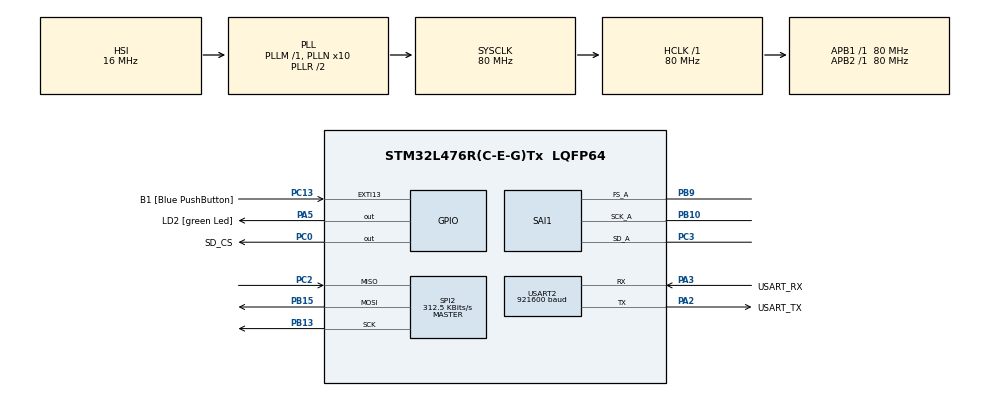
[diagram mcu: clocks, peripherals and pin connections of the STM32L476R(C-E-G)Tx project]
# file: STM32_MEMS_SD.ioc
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Dma.Request0=SAI1_A
Dma.Request1=SPI2_TX
Dma.SAI1_A.0.Direction=DMA_PERIPH_TO_MEMORY
Dma.SAI1_A.0.Instance=DMA2_Channel1
Dma.SAI1_A.0.MemDataAlignment=DMA_MDATAALIGN_WORD
Dma.SAI1_A.0.MemInc=DMA_MINC_ENABLE
Dma.SAI1_A.0.Mode=DMA_CIRCULAR
Dma.SAI1_A.0.PeriphDataAlignment=DMA_PDATAALIGN_WORD
Dma.SAI1_A.0.PeriphInc=DMA_PINC_DISABLE
Dma.SAI1_A.0.Priority=DMA_PRIORITY_HIGH
Dma.SPI2_TX.1.Direction=DMA_MEMORY_TO_PERIPH
Dma.SPI2_TX.1.Instance=DMA1_Channel5
Dma.SPI2_TX.1.MemDataAlignment=DMA_MDATAALIGN_BYTE
Dma.SPI2_TX.1.MemInc=DMA_MINC_ENABLE
Dma.SPI2_TX.1.Mode=DMA_NORMAL
Dma.SPI2_TX.1.PeriphDataAlignment=DMA_PDATAALIGN_BYTE
Dma.SPI2_TX.1.PeriphInc=DMA_PINC_DISABLE
Dma.SPI2_TX.1.Priority=DMA_PRIORITY_LOW
Mcu.Family=STM32L4
Mcu.Name=STM32L476R(C-E-G)Tx
Mcu.Package=LQFP64
NVIC.DMA1_Channel5_IRQn=true\:2\:0\:true\:false\:true\:false\:true\:true
NVIC.DMA2_Channel1_IRQn=true\:0\:0\:true\:false\:true\:false\:true\:true
NVIC.EXTI15_10_IRQn=true\:3\:0\:true\:false\:true\:true\:true\:true
NVIC.PriorityGroup=NVIC_PRIORITYGROUP_4
NVIC.SPI2_IRQn=true\:0\:0\:false\:false\:true\:true\:true\:true
PA13\ (JTMS-SWDIO).GPIO_Label=TMS
PA13\ (JTMS-SWDIO).Mode=Serial_Wire
PA13\ (JTMS-SWDIO).Signal=SYS_JTMS-SWDIO
PA14\ (JTCK-SWCLK).GPIO_Label=TCK
PA14\ (JTCK-SWCLK).Mode=Serial_Wire
PA14\ (JTCK-SWCLK).Signal=SYS_JTCK-SWCLK
PA2.GPIO_Label=USART_TX
PA2.GPIO_Mode=GPIO_MODE_AF_PP
PA2.GPIO_PuPd=GPIO_NOPULL
PA2.GPIO_Speed=GPIO_SPEED_FREQ_VERY_HIGH
PA2.Mode=Asynchronous
PA2.Signal=USART2_TX
PA3.GPIO_Label=USART_RX
PA3.GPIO_Mode=GPIO_MODE_AF_PP
PA3.GPIO_PuPd=GPIO_NOPULL
PA3.GPIO_Speed=GPIO_SPEED_FREQ_VERY_HIGH
PA3.Mode=Asynchronous
PA3.Signal=USART2_RX
PA5.GPIO_Label=LD2 [green Led]
PA5.GPIO_ModeDefaultOutputPP=GPIO_MODE_OUTPUT_PP
PA5.GPIO_PuPd=GPIO_NOPULL
PA5.GPIO_Speed=GPIO_SPEED_FREQ_LOW
PA5.Signal=GPIO_Output
PB10.Mode=SAI_A_Master
PB10.Signal=SAI1_SCK_A
PB13.Mode=Full_Duplex_Master
PB13.Signal=SPI2_SCK
PB15.Mode=Full_Duplex_Master
PB15.Signal=SPI2_MOSI
PB3\ (JTDO-TRACESWO).GPIO_Label=SWO
PB3\ (JTDO-TRACESWO).Signal=SYS_JTDO-SWO
PB9.Mode=SAI_A_Master
PB9.Signal=SAI1_FS_A
PC0.GPIO_Label=SD_CS
PC0.Signal=GPIO_Output
PC13.GPIO_Label=B1 [Blue PushButton]
PC13.GPIO_ModeDefaultEXTI=GPIO_MODE_IT_FALLING
PC13.GPIO_PuPd=GPIO_NOPULL
PC13.Signal=GPXTI13
PC14-OSC32_IN\ (PC14).Mode=LSE-External-Oscillator
PC14-OSC32_IN\ (PC14).Signal=RCC_OSC32_IN
PC15-OSC32_OUT\ (PC15).Mode=LSE-External-Oscillator
PC15-OSC32_OUT\ (PC15).Signal=RCC_OSC32_OUT
PC2.Mode=Full_Duplex_Master
PC2.Signal=SPI2_MISO
PC3.Mode=SAI_A_Master
PC3.Signal=SAI1_SD_A
PH0-OSC_IN\ (PH0).Signal=RCC_OSC_IN
PH1-OSC_OUT\ (PH1).Signal=RCC_OSC_OUT
ProjectManager.HeapSize=0x200
ProjectManager.StackSize=0x1000
ProjectManager.TargetToolchain=STM32CubeIDE
RCC.ADCFreq_Value=64000000
RCC.AHBFreq_Value=80000000
RCC.APB1Freq_Value=80000000
RCC.APB1TimFreq_Value=80000000
RCC.APB2Freq_Value=80000000
RCC.APB2TimFreq_Value=80000000
RCC.CortexFreq_Value=80000000
RCC.HCLKFreq_Value=80000000
RCC.HSE_VALUE=8000000
RCC.HSI_VALUE=16000000
RCC.MSI_VALUE=4000000
RCC.PLLN=10
RCC.PLLSourceVirtual=RCC_PLLSOURCE_HSI
RCC.SYSCLKFreq_VALUE=80000000
RCC.SYSCLKSource=RCC_SYSCLKSOURCE_PLLCLK
RCC.USBFreq_Value=64000000
RCC.VCOOutputFreq_Value=160000000
SAI1.AudioFrequency-SAI_A_Master=SAI_AUDIO_FREQUENCY_32K
SAI1.AudioMode-SAI_A_Master=SAI_MODEMASTER_RX
SAI1.BasicDataSize-SAI_A_Master=SAI_PROTOCOL_DATASIZE_32BIT
SAI1.ErrorAudioFreq-SAI_A_Master=11.6 %
SAI1.InitProtocol-SAI_A_Master=Enable
SAI1.Instance-SAI_A_Master=SAI$Index_Block_A
SAI1.MClockEnable-SAI_A_Master=SAI_MASTERCLOCK_DISABLE
SAI1.MonoStereoMode-SAI_A_Master=SAI_MONOMODE
SAI1.RealAudioFreq-SAI_A_Master=35.714 KHz
SAI1.VirtualMode-SAI_A_Master=VM_MASTER
SAI1.VirtualProtocol-SAI_A_BASIC=VM_BASIC_PROTOCOL
SPI2.BaudRatePrescaler=SPI_BAUDRATEPRESCALER_256
SPI2.CalculateBaudRate=312.5 KBits/s
SPI2.DataSize=SPI_DATASIZE_8BIT
SPI2.Direction=SPI_DIRECTION_2LINES
SPI2.Mode=SPI_MODE_MASTER
SPI2.NSSPMode=SPI_NSS_PULSE_DISABLE
SPI2.VirtualType=VM_MASTER
USART2.BaudRate=921600
USART2.VirtualMode-Asynchronous=VM_ASYNC
VP_FATFS_VS_Generic.Mode=User_defined
VP_SAI1_VP_$IpInstance_SAIA_SAI_BASIC.Mode=SAI_A_BASIC
board=NUCLEO-L476RG

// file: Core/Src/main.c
/* USER CODE BEGIN Header */
/**
  ******************************************************************************
  * @file           : main.c
  * @brief          : Main program body
  ******************************************************************************
  * @attention
  *
  * Copyright (c) 2026 STMicroelectronics.
  * All rights reserved.
  *
  * This software is licensed under terms that can be found in the LICENSE file
  * in the root directory of this software component.
  * If no LICENSE file comes with this software, it is provided AS-IS.
  *
  ******************************************************************************
  */
/* USER CODE END Header */
#include "main.h"
#include "fatfs.h"

/* USER CODE BEGIN Includes */

#include <stdio.h>
#include "sdcard.h"
#include "sd_spi.h"
#include "wav_writer.h"

/* USER CODE END Includes */

SAI_HandleTypeDef hsai_BlockA1;
DMA_HandleTypeDef hdma_sai1_a;

SPI_HandleTypeDef hspi2;
DMA_HandleTypeDef hdma_spi2_tx;

UART_HandleTypeDef huart2;

/* USER CODE BEGIN PV */
/*
 * variables for recording on computer
uint32_t micBuffer[512];
int16_t pcm16[512];
volatile uint32_t lastButtonTime = 0;
*/
/* USER CODE END PV */

void SystemClock_Config(void);
static void MX_GPIO_Init(void);
static void MX_DMA_Init(void);
static void MX_SAI1_Init(void);
static void MX_USART2_UART_Init(void);
static void MX_SPI2_Init(void);
/* USER CODE BEGIN PFP */

/* Debug values */
static volatile uint32_t debugSamples = 0U;
static volatile uint32_t debugOverruns = 0U;
static volatile uint32_t debugRecordingError = 0U;
static volatile FRESULT debugResult = FR_OK;
static volatile uint32_t debugLastWriteMs = 0U;
static volatile uint32_t debugMaxWriteMs = 0U;

/* Audio configuration */
#define AUDIO_SAMPLE_RATE        35714U
#define AUDIO_BITS_PER_SAMPLE    16U
#define AUDIO_CHANNELS           1U

/*
 * TEMPORARY TEST SETTINGS:
 * Each WAV = 60 seconds
 * Total recording session = maximum 30 minutes
 *
 * After testing successfully:
 * FILE_SECONDS       -> 3600U
 * MAX_RECORD_SECONDS -> 86400U
 */
#define FILE_SECONDS             1800U   /* 30-minute WAV segments */

/* DMA audio buffers */
#define AUDIO_BUFFER_SAMPLES     8192U
#define HALF_BUFFER_SAMPLES      (AUDIO_BUFFER_SAMPLES / 2U)
#define PCM_QUEUE_BLOCKS         6U

#define WAV_HEADER_SIZE          44U

/* Recording functions */
static FRESULT Start_Recording(void);
static FRESULT Stop_Recording(void);
static FRESULT Open_Next_File(void);

static FRESULT Write_Queued_Block(void);
static void Queue_DMA_Half(uint32_t startIndex);

static void Find_Next_File_Index(void);
static void SD_SPI_SetFast(void);

/* DMA / button state */
static volatile uint32_t dmaOverrunCount = 0U;

static volatile uint8_t startRequest = 0U;
static volatile uint8_t stopRequest = 0U;

static volatile uint32_t lastButtonTime = 0U;

/* Audio buffers */
static uint32_t micBuffer[AUDIO_BUFFER_SAMPLES];
static int16_t pcmQueue[PCM_QUEUE_BLOCKS][HALF_BUFFER_SAMPLES];
static volatile uint8_t queueHead = 0U;
static volatile uint8_t queueTail = 0U;
static volatile uint8_t queueCount = 0U;

/* Current WAV file */
static FIL wav_file;

/* Recording state */
static volatile uint8_t recording = 0U;
static volatile uint8_t recordingCompleteRequest = 0U;
static volatile uint8_t recordingError = 0U;

/*
 * Samples written to the CURRENT WAV file.
 * Resets whenever a new 1-minute test file is opened.
 */
static volatile uint32_t fileSamplesWritten = 0U;

/*
 * Samples written during the WHOLE recording session.
 * Resets only when the user starts a new session.
 */
static volatile uint64_t totalSamplesWritten = 0U;

/* Number of samples allowed in each WAV file */
static const uint32_t samplesPerFile =
    AUDIO_SAMPLE_RATE * FILE_SECONDS;

static uint32_t fileIndex = 0U;
static char currentFilename[40];

/* USER CODE END PFP */

int main(void)
{

  /* MCU Configuration--------------------------------------------------------*/

  /* Reset of all peripherals, Initializes the Flash interface and the Systick. */
  HAL_Init();

  /* Configure the system clock */
  SystemClock_Config();

  /* Initialize all configured peripherals */
  MX_GPIO_Init();
  MX_DMA_Init();
  MX_SAI1_Init();
  MX_USART2_UART_Init();
  MX_SPI2_Init();
  MX_FATFS_Init();
  /* USER CODE BEGIN 2 */

  //HAL_SAI_Receive_DMA(&hsai_BlockA1, (uint8_t*)micBuffer, 512);

  FATFS fs;
  FRESULT res = FR_OK;
  uint8_t sdReady = 0U;

  HAL_Delay(500);

  /*
   * Try mounting the SD card several times.
   * Do not allow recording to start unless mounting succeeds.
   */
  res = FR_NOT_READY;

  for (uint32_t attempt = 0U; attempt < 5U; attempt++)
  {
      res = f_mount(&fs, "", 1);

      if (res == FR_OK)
      {
          break;
      }

      HAL_Delay(500);
  }

  if (res == FR_OK)
  {
      /*
       * SD is confirmed ready.
       */
      SD_SPI_SetFast();

      Find_Next_File_Index();

      sdReady = 1U;
      startRequest = 1U;
  }
  else
  {
      /*
       * SD could not be mounted.
       * Recording must NOT start.
       */
      sdReady = 0U;
      startRequest = 0U;

      HAL_GPIO_WritePin(
          LD2_GPIO_Port,
          LD2_Pin,
          GPIO_PIN_RESET
      );
  }

  /* USER CODE END 2 */

  /* Infinite loop */
  while (1)
  {

    /* USER CODE BEGIN 3 */
    if (sdReady && startRequest && !recording)
    {
        startRequest = 0U;
        res = Start_Recording();
        debugResult = res;
        if (res == FR_OK)
        {
            if (HAL_SAI_Receive_DMA(&hsai_BlockA1, (uint8_t *)micBuffer, AUDIO_BUFFER_SAMPLES) != HAL_OK)
            {
                recordingError = 1U;
                recordingCompleteRequest = 1U;
            }
            else
            {
                /* Recording is active: green LED ON. */
                HAL_GPIO_WritePin(LD2_GPIO_Port, LD2_Pin, GPIO_PIN_SET);
            }
        }
    }

    if (recording && queueCount > 0U)
    {
        res = Write_Queued_Block();
        debugResult = res;
    }

    if (recording && (stopRequest || recordingCompleteRequest))
    {
        stopRequest = 0U;
        HAL_SAI_DMAStop(&hsai_BlockA1);

        /* Drain every complete block captured before DMA was stopped. */
        while (queueCount > 0U && !recordingError)
        {
            res = Write_Queued_Block();
            if (res != FR_OK) break;
        }

        res = Stop_Recording();
        debugResult = res;
        recordingCompleteRequest = 0U;
        /* Recording is fully finalized: green LED OFF. */
        HAL_GPIO_WritePin(LD2_GPIO_Port, LD2_Pin, GPIO_PIN_RESET);
    }
  }
  /* USER CODE END 3 */
}

void SystemClock_Config(void)
{
  RCC_OscInitTypeDef RCC_OscInitStruct = {0};
  RCC_ClkInitTypeDef RCC_ClkInitStruct = {0};

  /** Configure the main internal regulator output voltage
  */
  if (HAL_PWREx_ControlVoltageScaling(PWR_REGULATOR_VOLTAGE_SCALE1) != HAL_OK)
  {
    Error_Handler();
  }

  /** Initializes the RCC Oscillators according to the specified parameters
  * in the RCC_OscInitTypeDef structure.
  */
  RCC_OscInitStruct.OscillatorType = RCC_OSCILLATORTYPE_HSI;
  RCC_OscInitStruct.HSIState = RCC_HSI_ON;
  RCC_OscInitStruct.HSICalibrationValue = RCC_HSICALIBRATION_DEFAULT;
  RCC_OscInitStruct.PLL.PLLState = RCC_PLL_ON;
  RCC_OscInitStruct.PLL.PLLSource = RCC_PLLSOURCE_HSI;
  RCC_OscInitStruct.PLL.PLLM = 1;
  RCC_OscInitStruct.PLL.PLLN = 10;
  RCC_OscInitStruct.PLL.PLLP = RCC_PLLP_DIV7;
  RCC_OscInitStruct.PLL.PLLQ = RCC_PLLQ_DIV2;
  RCC_OscInitStruct.PLL.PLLR = RCC_PLLR_DIV2;
  if (HAL_RCC_OscConfig(&RCC_OscInitStruct) != HAL_OK)
  {
    Error_Handler();
  }

  /** Initializes the CPU, AHB and APB buses clocks
  */
  RCC_ClkInitStruct.ClockType = RCC_CLOCKTYPE_HCLK|RCC_CLOCKTYPE_SYSCLK
                              |RCC_CLOCKTYPE_PCLK1|RCC_CLOCKTYPE_PCLK2;
  RCC_ClkInitStruct.SYSCLKSource = RCC_SYSCLKSOURCE_PLLCLK;
  RCC_ClkInitStruct.AHBCLKDivider = RCC_SYSCLK_DIV1;
  RCC_ClkInitStruct.APB1CLKDivider = RCC_HCLK_DIV1;
  RCC_ClkInitStruct.APB2CLKDivider = RCC_HCLK_DIV1;

  if (HAL_RCC_ClockConfig(&RCC_ClkInitStruct, FLASH_LATENCY_4) != HAL_OK)
  {
    Error_Handler();
  }
}

static void MX_SAI1_Init(void)
{

  hsai_BlockA1.Instance = SAI1_Block_A;
  hsai_BlockA1.Init.AudioMode = SAI_MODEMASTER_RX;
  hsai_BlockA1.Init.Synchro = SAI_ASYNCHRONOUS;
  hsai_BlockA1.Init.OutputDrive = SAI_OUTPUTDRIVE_DISABLE;
  hsai_BlockA1.Init.NoDivider = SAI_MASTERDIVIDER_ENABLE;
  hsai_BlockA1.Init.FIFOThreshold = SAI_FIFOTHRESHOLD_EMPTY;
  hsai_BlockA1.Init.AudioFrequency = SAI_AUDIO_FREQUENCY_32K;
  hsai_BlockA1.Init.SynchroExt = SAI_SYNCEXT_DISABLE;
  hsai_BlockA1.Init.MonoStereoMode = SAI_MONOMODE;
  hsai_BlockA1.Init.CompandingMode = SAI_NOCOMPANDING;
  if (HAL_SAI_InitProtocol(&hsai_BlockA1, SAI_I2S_STANDARD, SAI_PROTOCOL_DATASIZE_32BIT, 2) != HAL_OK)
  {
    Error_Handler();
  }

}

static void MX_SPI2_Init(void)
{

  /* SPI2 parameter configuration*/
  hspi2.Instance = SPI2;
  hspi2.Init.Mode = SPI_MODE_MASTER;
  hspi2.Init.Direction = SPI_DIRECTION_2LINES;
  hspi2.Init.DataSize = SPI_DATASIZE_8BIT;
  hspi2.Init.CLKPolarity = SPI_POLARITY_LOW;
  hspi2.Init.CLKPhase = SPI_PHASE_1EDGE;
  hspi2.Init.NSS = SPI_NSS_SOFT;
  hspi2.Init.BaudRatePrescaler = SPI_BAUDRATEPRESCALER_256;
  hspi2.Init.FirstBit = SPI_FIRSTBIT_MSB;
  hspi2.Init.TIMode = SPI_TIMODE_DISABLE;
  hspi2.Init.CRCCalculation = SPI_CRCCALCULATION_DISABLE;
  hspi2.Init.CRCPolynomial = 7;
  hspi2.Init.CRCLength = SPI_CRC_LENGTH_DATASIZE;
  hspi2.Init.NSSPMode = SPI_NSS_PULSE_DISABLE;
  if (HAL_SPI_Init(&hspi2) != HAL_OK)
  {
    Error_Handler();
  }

}

static void MX_USART2_UART_Init(void)
{

  huart2.Instance = USART2;
  huart2.Init.BaudRate = 921600;
  huart2.Init.WordLength = UART_WORDLENGTH_8B;
  huart2.Init.StopBits = UART_STOPBITS_1;
  huart2.Init.Parity = UART_PARITY_NONE;
  huart2.Init.Mode = UART_MODE_TX_RX;
  huart2.Init.HwFlowCtl = UART_HWCONTROL_NONE;
  huart2.Init.OverSampling = UART_OVERSAMPLING_16;
  huart2.Init.OneBitSampling = UART_ONE_BIT_SAMPLE_DISABLE;
  huart2.AdvancedInit.AdvFeatureInit = UART_ADVFEATURE_NO_INIT;
  if (HAL_UART_Init(&huart2) != HAL_OK)
  {
    Error_Handler();
  }

}

static void MX_DMA_Init(void)
{

  /* DMA controller clock enable */
  __HAL_RCC_DMA2_CLK_ENABLE();
  __HAL_RCC_DMA1_CLK_ENABLE();

  /* DMA interrupt init */
  /* DMA1_Channel5_IRQn interrupt configuration */
  HAL_NVIC_SetPriority(DMA1_Channel5_IRQn, 2, 0);
  HAL_NVIC_EnableIRQ(DMA1_Channel5_IRQn);
  /* DMA2_Channel1_IRQn interrupt configuration */
  HAL_NVIC_SetPriority(DMA2_Channel1_IRQn, 0, 0);
  HAL_NVIC_EnableIRQ(DMA2_Channel1_IRQn);

}

static void MX_GPIO_Init(void)
{
  GPIO_InitTypeDef GPIO_InitStruct = {0};

  /* GPIO Ports Clock Enable */
  __HAL_RCC_GPIOC_CLK_ENABLE();
  __HAL_RCC_GPIOH_CLK_ENABLE();
  __HAL_RCC_GPIOA_CLK_ENABLE();
  __HAL_RCC_GPIOB_CLK_ENABLE();

  /*Configure GPIO pin Output Level */
  HAL_GPIO_WritePin(SD_CS_GPIO_Port, SD_CS_Pin, GPIO_PIN_RESET);

  /*Configure GPIO pin Output Level */
  HAL_GPIO_WritePin(LD2_GPIO_Port, LD2_Pin, GPIO_PIN_RESET);

  /*Configure GPIO pin : B1_Pin */
  GPIO_InitStruct.Pin = B1_Pin;
  GPIO_InitStruct.Mode = GPIO_MODE_IT_FALLING;
  GPIO_InitStruct.Pull = GPIO_NOPULL;
  HAL_GPIO_Init(B1_GPIO_Port, &GPIO_InitStruct);

  /*Configure GPIO pin : SD_CS_Pin */
  GPIO_InitStruct.Pin = SD_CS_Pin;
  GPIO_InitStruct.Mode = GPIO_MODE_OUTPUT_PP;
  GPIO_InitStruct.Pull = GPIO_NOPULL;
  GPIO_InitStruct.Speed = GPIO_SPEED_FREQ_LOW;
  HAL_GPIO_Init(SD_CS_GPIO_Port, &GPIO_InitStruct);

  /*Configure GPIO pin : LD2_Pin */
  GPIO_InitStruct.Pin = LD2_Pin;
  GPIO_InitStruct.Mode = GPIO_MODE_OUTPUT_PP;
  GPIO_InitStruct.Pull = GPIO_NOPULL;
  GPIO_InitStruct.Speed = GPIO_SPEED_FREQ_LOW;
  HAL_GPIO_Init(LD2_GPIO_Port, &GPIO_InitStruct);

  /* EXTI interrupt init*/
  HAL_NVIC_SetPriority(EXTI15_10_IRQn, 3, 0);
  HAL_NVIC_EnableIRQ(EXTI15_10_IRQn);

}

/* USER CODE BEGIN 4 */

/* Continuous SD-card recording helpers. */
static FRESULT Start_Recording(void)
{
    FRESULT result;

    fileSamplesWritten = 0U;
    totalSamplesWritten = 0U;
    queueHead = 0U;
    queueTail = 0U;
    queueCount = 0U;
    recordingCompleteRequest = 0U;
    recordingError = 0U;
    dmaOverrunCount = 0U;
    debugLastWriteMs = 0U;
    debugMaxWriteMs = 0U;

    snprintf(currentFilename, sizeof(currentFilename),
             "R%06lu.WAV", (unsigned long)fileIndex);

    result = WAV_Start(&wav_file, currentFilename,
                       AUDIO_SAMPLE_RATE, AUDIO_BITS_PER_SAMPLE, AUDIO_CHANNELS);
    if (result != FR_OK)
    {
        recording = 0U;
        HAL_GPIO_WritePin(LD2_GPIO_Port, LD2_Pin, GPIO_PIN_RESET);
        return result;
    }

    recording = 1U;
    return FR_OK;
}

static FRESULT Stop_Recording(void)
{
    FRESULT result;

    /* DMA is stopped and the queue is drained by main() before this call. */
    recording = 0U;
    result = WAV_Finish(&wav_file);

    debugSamples = fileSamplesWritten;
    debugOverruns = dmaOverrunCount;
    debugRecordingError = recordingError;
    debugResult = result;

    if (result == FR_OK)
    {
        fileIndex++;
    }

    HAL_GPIO_WritePin(LD2_GPIO_Port, LD2_Pin, GPIO_PIN_RESET);
    return result;
}

static FRESULT Open_Next_File(void)
{
    FRESULT result;

    fileIndex++;
    fileSamplesWritten = 0U;

    snprintf(currentFilename, sizeof(currentFilename),
             "R%06lu.WAV", (unsigned long)fileIndex);

    result = WAV_Start(&wav_file, currentFilename,
                       AUDIO_SAMPLE_RATE, AUDIO_BITS_PER_SAMPLE, AUDIO_CHANNELS);
    return result;
}

static FRESULT Write_Queued_Block(void)
{
    FRESULT result;
    uint8_t tail;
    uint32_t writeStartTime;

    __disable_irq();
    if (queueCount == 0U)
    {
        __enable_irq();
        return FR_OK;
    }
    tail = queueTail;
    __enable_irq();

    writeStartTime = HAL_GetTick();
    result = WAV_WriteSamples(&wav_file, pcmQueue[tail], HALF_BUFFER_SAMPLES);
    debugLastWriteMs = HAL_GetTick() - writeStartTime;
    if (debugLastWriteMs > debugMaxWriteMs)
    {
        debugMaxWriteMs = debugLastWriteMs;
    }

    if (result != FR_OK)
    {
        recordingError = 1U;
        recordingCompleteRequest = 1U;
        return result;
    }

    fileSamplesWritten += HALF_BUFFER_SAMPLES;
    totalSamplesWritten += HALF_BUFFER_SAMPLES;

    __disable_irq();
    queueTail = (uint8_t)((queueTail + 1U) % PCM_QUEUE_BLOCKS);
    queueCount--;
    __enable_irq();

    if (fileSamplesWritten >= samplesPerFile)
    {
        result = WAV_Finish(&wav_file);
        if (result == FR_OK)
        {
            result = Open_Next_File();
        }
        if (result != FR_OK)
        {
            recordingError = 1U;
            recordingCompleteRequest = 1U;
        }
    }

    return result;
}

static void Queue_DMA_Half(uint32_t startIndex)
{
    uint8_t head;

    if (!recording)
    {
        return;
    }

    if (queueCount >= PCM_QUEUE_BLOCKS)
    {
        dmaOverrunCount++;
        recordingError = 1U;
        recordingCompleteRequest = 1U;
        return;
    }

    head = queueHead;
    for (uint32_t i = 0U; i < HALF_BUFFER_SAMPLES; i++)
    {
        pcmQueue[head][i] =
            (int16_t)((int32_t)micBuffer[startIndex + i] >> 14);
    }

    queueHead = (uint8_t)((queueHead + 1U) % PCM_QUEUE_BLOCKS);
    queueCount++;
}

static void Find_Next_File_Index(void)
{
    FILINFO fileInfo;

    fileIndex = 0U;
    while (1)
    {
        snprintf(currentFilename, sizeof(currentFilename),
                 "R%06lu.WAV", (unsigned long)fileIndex);
        if (f_stat(currentFilename, &fileInfo) != FR_OK)
        {
            break;
        }
        fileIndex++;
    }
}

void HAL_SAI_RxHalfCpltCallback(SAI_HandleTypeDef *hsai)
{
    if (hsai == &hsai_BlockA1)
    {
        Queue_DMA_Half(0U);
    }
}

void HAL_SAI_RxCpltCallback(SAI_HandleTypeDef *hsai)
{
    if (hsai == &hsai_BlockA1)
    {
        Queue_DMA_Half(HALF_BUFFER_SAMPLES);
    }
}

void HAL_GPIO_EXTI_Callback(uint16_t GPIO_Pin)
{
    if (GPIO_Pin == B1_Pin)
    {
        uint32_t now = HAL_GetTick();

        if ((now - lastButtonTime) < 300U)
        {
            return;
        }
        lastButtonTime = now;

        /* Only request the operation here; FatFs work stays in main(). */
        if (recording)
        {
            stopRequest = 1U;
            startRequest = 0U;
        }
        else
        {
            startRequest = 1U;
            stopRequest = 0U;
        }
    }
}

static void SD_SPI_SetFast(void)
{
    HAL_SPI_DeInit(&hspi2);
    hspi2.Init.BaudRatePrescaler = SPI_BAUDRATEPRESCALER_8;

    if (HAL_SPI_Init(&hspi2) != HAL_OK)
    {
        Error_Handler();
    }
}

/* USER CODE END 4 */

void Error_Handler(void)
{
  __disable_irq();
  while (1)
  {
  }
}
